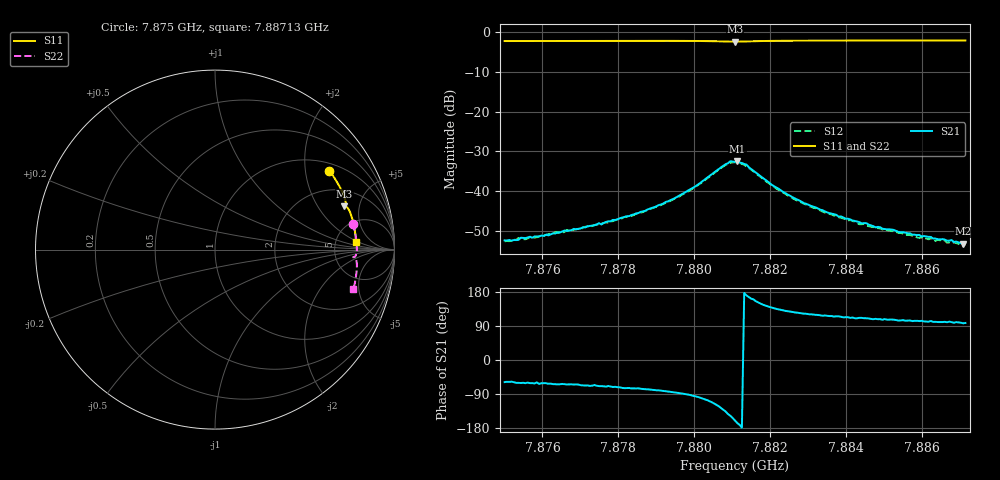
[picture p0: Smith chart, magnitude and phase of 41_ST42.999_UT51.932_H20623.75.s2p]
#  HZ  S  DB  R  50.00
! Rohde & Schwarz Vector Network Analyzer
! Rohde-Schwarz,ZNB20-2Port,1311601062101988,3.16
! Created: UTC 1/12/2023, 6:32:10 PM
! freq[Hz]  db:S11  ang:S11  db:S21  ang:S21  db:S12  ang:S12  db:S22  ang:S22
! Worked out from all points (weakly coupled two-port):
!   201 points, 7.875 GHz to 7.88713 GHz, reference 50 ohm
!   highest |S21| = -32.43 dB at 7.88113 GHz (marker M1); lowest = -53.2 dB at 7.88707 GHz (marker M2)
!   lowest |S11| = -2.4 dB at 7.88107 GHz (marker M3), VSWR 7.35, Z = 154 + j177 ohm
!   |S11| at or under -10 dB: nowhere
!   |S22| runs from -2.3 to -1.9 dB; largest |S21 - S12| = 0.0018
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7.875004e9  -2.22 34.5  -52.39 -58.3  -52.66 -63.1  -2.14 10.6
7.876156e9  -2.21 31.4  -51.14 -62.8  -50.79 -65.5  -2.11 7.8
7.877066e9  -2.19 28.9  -49.10 -67.1  -49.19 -69.8  -2.08 5.7
7.877491e9  -2.19 27.7  -48.05 -68.9  -48.46 -73.0  -2.07 4.7
7.877551e9  -2.18 27.6  -48.40 -69.1  -48.19 -73.6  -2.07 4.5
7.879068e9  -2.17 23.4  -43.48 -80.1  -43.67 -83.8  -2.05 1.0
7.880038e9  -2.20 20.5  -38.71 -96.1  -38.87 -99.6  -2.06 -1.4
7.880948e9  -2.37 18.5  -32.46 -147.3  -32.89 -150.8  -2.24 -3.2
7.881069e9  -2.38 18.6  -32.66 -159.8  -32.74 -163.0  -2.26 -3.1
7.88113e9  -2.37 18.6  -32.43 -166.4  -32.76 -169.4  -2.25 -3.1
7.881373e9  -2.32 18.4  -33.32 170.2  -33.77 168.3  -2.19 -3.0
7.882343e9  -2.16 15.8  -40.24 130.9  -40.40 127.9  -2.02 -5.1
7.883131e9  -2.12 13.6  -43.91 119.8  -44.21 116.4  -1.98 -7.0
7.884345e9  -2.10 10.3  -47.79 111.4  -48.31 107.6  -1.95 -9.8
7.885133e9  -2.09 8.2  -49.59 106.5  -49.92 104.0  -1.93 -11.6
7.886043e9  -2.08 5.8  -51.29 101.9  -52.05 98.8  -1.93 -13.5
7.886285e9  -2.08 5.2  -51.92 100.7  -51.95 97.7  -1.93 -14.1
7.886346e9  -2.08 5.1  -51.93 100.8  -52.53 96.4  -1.93 -14.2
7.886528e9  -2.08 4.6  -52.08 100.1  -52.11 96.5  -1.92 -14.6
7.886649e9  -2.08 4.2  -52.47 99.5  -52.98 98.8  -1.92 -14.8
7.887074e9  -2.08 3.1  -53.22 96.9  -53.85 93.8  -1.92 -15.8
7.887135e9  -2.08 3.0  -52.99 97.7  -53.35 95.4  -1.92 -15.9
